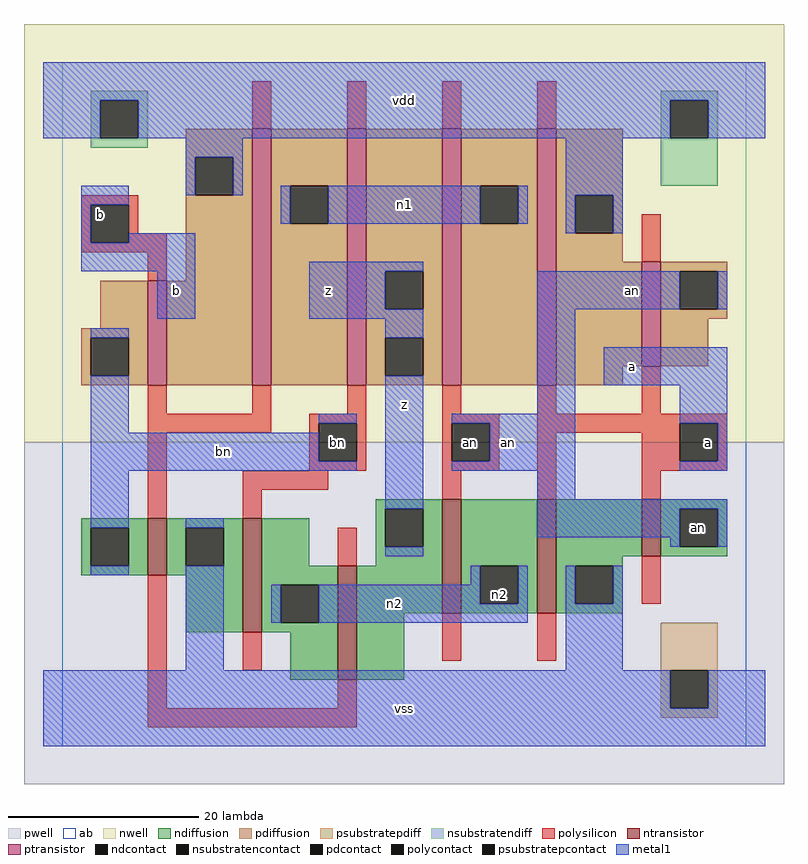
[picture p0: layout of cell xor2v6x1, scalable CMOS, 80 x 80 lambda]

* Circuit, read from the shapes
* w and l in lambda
.subckt xor2v6x1 a an b bn n1 n2 vdd vss z
M1 vss b bn vss nfet w=6 l=2
M2 n2 bn vss vss nfet w=12 l=2
M3 z b n2 vss nfet w=12 l=2
M4 n2 an z vss nfet w=12 l=2
M5 vss a n2 vss nfet w=12 l=2
M6 an a vss vss nfet w=6 l=2
M7 vdd b bn vdd pfet w=11 l=2
M8 n1 b vdd vdd pfet w=27 l=2
M9 z bn n1 vdd pfet w=27 l=2
M10 n1 an z vdd pfet w=27 l=2
M11 vdd a n1 vdd pfet w=27 l=2
M12 an a vdd vdd pfet w=11 l=2
.ends

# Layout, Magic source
magic
tech scmos
<< ab >>
rect 0 0 72 72
<< pwell >>
rect -4 -4 76 32
<< nwell >>
rect -4 32 76 76
<< polysilicon >>
rect 20 65 22 70
rect 30 65 32 70
rect 40 65 42 70
rect 50 65 52 70
rect 2 57 8 58
rect 2 53 3 57
rect 7 54 8 57
rect 7 53 11 54
rect 2 52 11 53
rect 9 49 11 52
rect 61 51 63 56
rect 9 35 11 38
rect 20 35 22 38
rect 30 35 32 38
rect 9 33 22 35
rect 26 34 32 35
rect 9 24 11 33
rect 26 30 27 34
rect 31 30 32 34
rect 26 29 32 30
rect 40 35 42 38
rect 50 35 52 38
rect 61 35 63 40
rect 40 34 46 35
rect 40 30 41 34
rect 45 30 46 34
rect 40 29 46 30
rect 50 34 70 35
rect 50 33 65 34
rect 19 27 28 29
rect 19 24 21 27
rect 40 26 42 29
rect 50 26 52 33
rect 61 30 65 33
rect 69 30 70 34
rect 61 29 70 30
rect 61 26 63 29
rect 9 4 11 18
rect 29 19 31 23
rect 19 8 21 12
rect 61 15 63 20
rect 40 9 42 14
rect 50 9 52 14
rect 29 4 31 7
rect 9 2 31 4
<< ndiffusion >>
rect 33 25 40 26
rect 2 23 9 24
rect 2 19 3 23
rect 7 19 9 23
rect 2 18 9 19
rect 11 23 19 24
rect 11 19 13 23
rect 17 19 19 23
rect 11 18 19 19
rect 13 12 19 18
rect 21 19 26 24
rect 33 21 34 25
rect 38 21 40 25
rect 33 19 40 21
rect 21 17 29 19
rect 21 13 23 17
rect 27 13 29 17
rect 21 12 29 13
rect 24 7 29 12
rect 31 14 40 19
rect 42 19 50 26
rect 42 15 44 19
rect 48 15 50 19
rect 42 14 50 15
rect 52 20 61 26
rect 63 25 70 26
rect 63 21 65 25
rect 69 21 70 25
rect 63 20 70 21
rect 52 19 59 20
rect 52 15 54 19
rect 58 15 59 19
rect 52 14 59 15
rect 31 7 36 14
<< pdiffusion >>
rect 13 62 20 65
rect 13 58 14 62
rect 18 58 20 62
rect 13 49 20 58
rect 4 44 9 49
rect 2 43 9 44
rect 2 39 3 43
rect 7 39 9 43
rect 2 38 9 39
rect 11 38 20 49
rect 22 59 30 65
rect 22 55 24 59
rect 28 55 30 59
rect 22 38 30 55
rect 32 50 40 65
rect 32 46 34 50
rect 38 46 40 50
rect 32 43 40 46
rect 32 39 34 43
rect 38 39 40 43
rect 32 38 40 39
rect 42 59 50 65
rect 42 55 44 59
rect 48 55 50 59
rect 42 38 50 55
rect 52 58 59 65
rect 52 54 54 58
rect 58 54 59 58
rect 52 51 59 54
rect 52 40 61 51
rect 63 50 70 51
rect 63 46 65 50
rect 69 46 70 50
rect 63 45 70 46
rect 63 40 68 45
rect 52 38 59 40
<< metal1 >>
rect -2 68 74 72
rect -2 64 4 68
rect 8 64 64 68
rect 68 64 74 68
rect 13 62 19 64
rect 2 57 7 59
rect 13 58 14 62
rect 18 58 19 62
rect 2 53 3 57
rect 23 55 24 59
rect 28 55 44 59
rect 48 55 49 59
rect 53 58 59 64
rect 53 54 54 58
rect 58 54 59 58
rect 7 53 14 54
rect 2 50 14 53
rect 10 45 14 50
rect 26 50 38 51
rect 26 46 34 50
rect 26 45 38 46
rect 3 43 7 44
rect 3 33 7 39
rect 34 43 38 45
rect 27 34 31 35
rect 3 30 27 33
rect 3 29 31 30
rect 3 23 7 29
rect 34 25 38 39
rect 50 46 65 50
rect 69 46 70 50
rect 50 35 54 46
rect 57 38 70 42
rect 41 34 54 35
rect 45 30 54 34
rect 41 29 54 30
rect 65 34 70 38
rect 69 30 70 34
rect 65 29 70 30
rect 3 18 7 19
rect 13 23 17 24
rect 50 26 54 29
rect 50 25 70 26
rect 50 22 65 25
rect 64 21 65 22
rect 69 21 70 25
rect 34 20 38 21
rect 13 8 17 19
rect 43 17 44 19
rect 22 13 23 17
rect 27 15 44 17
rect 48 15 49 19
rect 27 13 49 15
rect 53 15 54 19
rect 58 15 59 19
rect 53 8 59 15
rect -2 4 64 8
rect 68 4 74 8
rect -2 0 74 4
<< ntransistor >>
rect 9 18 11 24
rect 19 12 21 24
rect 29 7 31 19
rect 40 14 42 26
rect 50 14 52 26
rect 61 20 63 26
<< ptransistor >>
rect 9 38 11 49
rect 20 38 22 65
rect 30 38 32 65
rect 40 38 42 65
rect 50 38 52 65
rect 61 40 63 51
<< polycontact >>
rect 3 53 7 57
rect 27 30 31 34
rect 41 30 45 34
rect 65 30 69 34
<< ndcontact >>
rect 3 19 7 23
rect 13 19 17 23
rect 34 21 38 25
rect 23 13 27 17
rect 44 15 48 19
rect 65 21 69 25
rect 54 15 58 19
<< pdcontact >>
rect 14 58 18 62
rect 3 39 7 43
rect 24 55 28 59
rect 34 46 38 50
rect 34 39 38 43
rect 44 55 48 59
rect 54 54 58 58
rect 65 46 69 50
<< psubstratepcontact >>
rect 64 4 68 8
<< nsubstratencontact >>
rect 4 64 8 68
rect 64 64 68 68
<< psubstratepdiff >>
rect 63 8 69 13
rect 63 4 64 8
rect 68 4 69 8
rect 63 3 69 4
<< nsubstratendiff >>
rect 3 68 9 69
rect 3 64 4 68
rect 8 64 9 68
rect 63 68 69 69
rect 3 63 9 64
rect 63 64 64 68
rect 68 64 69 68
rect 63 59 69 64
<< labels >>
rlabel polycontact 29 32 29 32 6 bn
rlabel polycontact 43 32 43 32 6 an
rlabel metal1 12 48 12 48 6 b
rlabel polycontact 4 56 4 56 6 b
rlabel metal1 17 31 17 31 6 bn
rlabel polycontact 29 32 29 32 6 bn
rlabel metal1 28 48 28 48 6 z
rlabel metal1 36 4 36 4 6 vss
rlabel metal1 35 15 35 15 6 n2
rlabel ndcontact 46 16 46 16 6 n2
rlabel metal1 47 32 47 32 6 an
rlabel metal1 36 36 36 36 6 z
rlabel metal1 36 57 36 57 6 n1
rlabel metal1 36 68 36 68 6 vdd
rlabel ndcontact 67 23 67 23 6 an
rlabel polycontact 68 32 68 32 6 a
rlabel metal1 60 40 60 40 6 a
rlabel metal1 60 48 60 48 6 an
<< end >>
